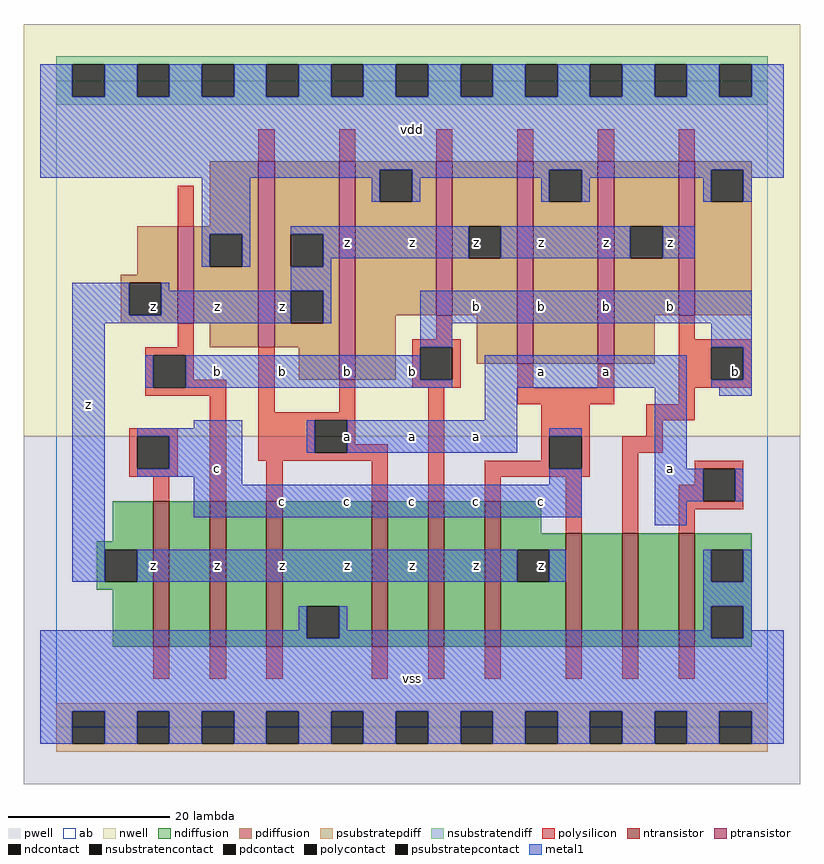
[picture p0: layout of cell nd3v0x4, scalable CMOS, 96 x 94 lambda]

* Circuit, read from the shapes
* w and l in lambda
.subckt nd3v0x4 a b c vdd vss z
M1 n1 c z vss nfet w=18 l=2
M2 n2 b n1 vss nfet w=18 l=2
M3 vss a n2 vss nfet w=18 l=2
M4 n3 a vss vss nfet w=18 l=2
M5 n4 b n3 vss nfet w=18 l=2
M6 z c n4 vss nfet w=18 l=2
M7 n5 c z vss nfet w=14 l=2
M8 n6 b n5 vss nfet w=14 l=2
M9 vss a n6 vss nfet w=14 l=2
M10 vdd b z vdd pfet w=12 l=2
M11 z a vdd vdd pfet w=23 l=2
M12 vdd a z vdd pfet w=27 l=2
M13 z b vdd vdd pfet w=19 l=2 m=2
M14 vdd c z vdd pfet w=25 l=2 m=2
.ends

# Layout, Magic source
magic
tech scmos
<< ab >>
rect 0 0 88 80
<< pwell >>
rect -4 -7 92 36
<< nwell >>
rect -4 36 92 87
<< polysilicon >>
rect 25 70 27 74
rect 35 70 37 74
rect 47 70 49 74
rect 57 70 59 74
rect 67 70 69 74
rect 77 70 79 74
rect 15 62 17 67
rect 15 47 17 50
rect 11 46 17 47
rect 11 42 12 46
rect 16 43 17 46
rect 16 42 21 43
rect 11 41 21 42
rect 9 36 15 37
rect 9 32 10 36
rect 14 32 15 36
rect 9 31 15 32
rect 12 28 14 31
rect 19 28 21 41
rect 25 39 27 47
rect 47 48 49 51
rect 44 47 50 48
rect 44 43 45 47
rect 49 43 50 47
rect 77 48 79 51
rect 77 47 86 48
rect 35 39 37 43
rect 44 42 50 43
rect 57 42 59 45
rect 67 42 69 45
rect 25 38 37 39
rect 25 34 32 38
rect 36 35 37 38
rect 36 34 41 35
rect 25 33 41 34
rect 26 28 28 33
rect 39 28 41 33
rect 46 28 48 42
rect 57 40 69 42
rect 77 43 81 47
rect 85 43 86 47
rect 77 42 86 43
rect 77 40 79 42
rect 60 36 66 40
rect 73 38 79 40
rect 73 36 75 38
rect 60 33 61 36
rect 53 32 61 33
rect 65 32 66 36
rect 53 31 66 32
rect 70 34 75 36
rect 53 28 55 31
rect 63 24 65 31
rect 70 24 72 34
rect 79 32 85 33
rect 79 30 80 32
rect 77 28 80 30
rect 84 28 85 32
rect 77 27 85 28
rect 77 24 79 27
rect 12 6 14 10
rect 19 6 21 10
rect 26 6 28 10
rect 39 6 41 10
rect 46 6 48 10
rect 53 6 55 10
rect 63 6 65 10
rect 70 6 72 10
rect 77 6 79 10
<< ndiffusion >>
rect 7 23 12 28
rect 5 22 12 23
rect 5 18 6 22
rect 10 18 12 22
rect 5 17 12 18
rect 7 10 12 17
rect 14 10 19 28
rect 21 10 26 28
rect 28 15 39 28
rect 28 11 31 15
rect 35 11 39 15
rect 28 10 39 11
rect 41 10 46 28
rect 48 10 53 28
rect 55 24 60 28
rect 55 22 63 24
rect 55 18 57 22
rect 61 18 63 22
rect 55 10 63 18
rect 65 10 70 24
rect 72 10 77 24
rect 79 22 86 24
rect 79 18 81 22
rect 85 18 86 22
rect 79 15 86 18
rect 79 11 81 15
rect 85 11 86 15
rect 79 10 86 11
<< pdiffusion >>
rect 19 62 25 70
rect 10 56 15 62
rect 8 55 15 56
rect 8 51 9 55
rect 13 51 15 55
rect 8 50 15 51
rect 17 61 25 62
rect 17 57 19 61
rect 23 57 25 61
rect 17 50 25 57
rect 19 47 25 50
rect 27 61 35 70
rect 27 57 29 61
rect 33 57 35 61
rect 27 54 35 57
rect 27 50 29 54
rect 33 50 35 54
rect 27 47 35 50
rect 30 43 35 47
rect 37 69 47 70
rect 37 65 40 69
rect 44 65 47 69
rect 37 51 47 65
rect 49 62 57 70
rect 49 58 51 62
rect 55 58 57 62
rect 49 51 57 58
rect 37 43 42 51
rect 52 45 57 51
rect 59 69 67 70
rect 59 65 61 69
rect 65 65 67 69
rect 59 45 67 65
rect 69 62 77 70
rect 69 58 71 62
rect 75 58 77 62
rect 69 51 77 58
rect 79 69 86 70
rect 79 65 81 69
rect 85 65 86 69
rect 79 51 86 65
rect 69 45 74 51
<< metal1 >>
rect -2 78 2 82
rect 6 78 10 82
rect 14 78 18 82
rect 22 78 26 82
rect 30 78 34 82
rect 38 78 42 82
rect 46 78 50 82
rect 54 78 58 82
rect 62 78 66 82
rect 70 78 74 82
rect 78 78 82 82
rect 86 78 90 82
rect -2 69 90 78
rect -2 68 40 69
rect 18 61 24 68
rect 39 65 40 68
rect 44 68 61 69
rect 44 65 45 68
rect 60 65 61 68
rect 65 68 81 69
rect 65 65 66 68
rect 80 65 81 68
rect 85 68 90 69
rect 85 65 86 68
rect 18 57 19 61
rect 23 57 24 61
rect 29 61 51 62
rect 33 58 51 61
rect 55 58 71 62
rect 75 58 79 62
rect 33 57 34 58
rect 2 51 9 55
rect 13 54 14 55
rect 29 54 34 57
rect 13 51 29 54
rect 2 50 29 51
rect 33 50 34 54
rect 45 50 86 54
rect 2 18 6 50
rect 45 47 49 50
rect 11 42 12 46
rect 16 43 45 46
rect 81 47 86 50
rect 16 42 49 43
rect 53 42 78 46
rect 85 43 86 47
rect 81 42 86 43
rect 53 38 57 42
rect 17 37 23 38
rect 10 36 23 37
rect 14 32 23 36
rect 31 34 32 38
rect 36 34 57 38
rect 61 36 65 37
rect 10 31 23 32
rect 17 30 23 31
rect 61 30 65 32
rect 17 26 65 30
rect 74 32 78 42
rect 82 41 86 42
rect 74 28 80 32
rect 84 28 85 32
rect 74 25 78 28
rect 10 18 57 22
rect 61 18 63 22
rect 80 18 81 22
rect 85 18 86 22
rect 80 15 86 18
rect 30 12 31 15
rect -2 11 31 12
rect 35 12 36 15
rect 80 12 81 15
rect 35 11 81 12
rect 85 12 86 15
rect 85 11 90 12
rect -2 2 90 11
rect -2 -2 2 2
rect 6 -2 10 2
rect 14 -2 18 2
rect 22 -2 26 2
rect 30 -2 34 2
rect 38 -2 42 2
rect 46 -2 50 2
rect 54 -2 58 2
rect 62 -2 66 2
rect 70 -2 74 2
rect 78 -2 82 2
rect 86 -2 90 2
<< ntransistor >>
rect 12 10 14 28
rect 19 10 21 28
rect 26 10 28 28
rect 39 10 41 28
rect 46 10 48 28
rect 53 10 55 28
rect 63 10 65 24
rect 70 10 72 24
rect 77 10 79 24
<< ptransistor >>
rect 15 50 17 62
rect 25 47 27 70
rect 35 43 37 70
rect 47 51 49 70
rect 57 45 59 70
rect 67 45 69 70
rect 77 51 79 70
<< polycontact >>
rect 12 42 16 46
rect 10 32 14 36
rect 45 43 49 47
rect 32 34 36 38
rect 81 43 85 47
rect 61 32 65 36
rect 80 28 84 32
<< ndcontact >>
rect 6 18 10 22
rect 31 11 35 15
rect 57 18 61 22
rect 81 18 85 22
rect 81 11 85 15
<< pdcontact >>
rect 9 51 13 55
rect 19 57 23 61
rect 29 57 33 61
rect 29 50 33 54
rect 40 65 44 69
rect 51 58 55 62
rect 61 65 65 69
rect 71 58 75 62
rect 81 65 85 69
<< psubstratepcontact >>
rect 2 -2 6 2
rect 10 -2 14 2
rect 18 -2 22 2
rect 26 -2 30 2
rect 34 -2 38 2
rect 42 -2 46 2
rect 50 -2 54 2
rect 58 -2 62 2
rect 66 -2 70 2
rect 74 -2 78 2
rect 82 -2 86 2
<< nsubstratencontact >>
rect 2 78 6 82
rect 10 78 14 82
rect 18 78 22 82
rect 26 78 30 82
rect 34 78 38 82
rect 42 78 46 82
rect 50 78 54 82
rect 58 78 62 82
rect 66 78 70 82
rect 74 78 78 82
rect 82 78 86 82
<< psubstratepdiff >>
rect 0 2 88 3
rect 0 -2 2 2
rect 6 -2 10 2
rect 14 -2 18 2
rect 22 -2 26 2
rect 30 -2 34 2
rect 38 -2 42 2
rect 46 -2 50 2
rect 54 -2 58 2
rect 62 -2 66 2
rect 70 -2 74 2
rect 78 -2 82 2
rect 86 -2 88 2
rect 0 -3 88 -2
<< nsubstratendiff >>
rect 0 82 88 83
rect 0 78 2 82
rect 6 78 10 82
rect 14 78 18 82
rect 22 78 26 82
rect 30 78 34 82
rect 38 78 42 82
rect 46 78 50 82
rect 54 78 58 82
rect 62 78 66 82
rect 70 78 74 82
rect 78 78 82 82
rect 86 78 88 82
rect 0 77 88 78
<< labels >>
rlabel metal1 12 20 12 20 6 z
rlabel metal1 4 40 4 40 6 z
rlabel pdcontact 12 52 12 52 6 z
rlabel metal1 20 20 20 20 6 z
rlabel metal1 28 20 28 20 6 z
rlabel metal1 28 28 28 28 6 c
rlabel metal1 20 32 20 32 6 c
rlabel metal1 20 44 20 44 6 b
rlabel metal1 28 44 28 44 6 b
rlabel metal1 20 52 20 52 6 z
rlabel metal1 28 52 28 52 6 z
rlabel metal1 44 6 44 6 6 vss
rlabel metal1 36 20 36 20 6 z
rlabel metal1 36 28 36 28 6 c
rlabel metal1 44 20 44 20 6 z
rlabel metal1 44 28 44 28 6 c
rlabel metal1 36 36 36 36 6 a
rlabel metal1 36 44 36 44 6 b
rlabel metal1 44 36 44 36 6 a
rlabel metal1 44 44 44 44 6 b
rlabel metal1 36 60 36 60 6 z
rlabel metal1 44 60 44 60 6 z
rlabel metal1 44 74 44 74 6 vdd
rlabel metal1 52 20 52 20 6 z
rlabel metal1 52 28 52 28 6 c
rlabel ndcontact 60 20 60 20 6 z
rlabel metal1 60 28 60 28 6 c
rlabel metal1 52 36 52 36 6 a
rlabel metal1 60 44 60 44 6 a
rlabel metal1 68 44 68 44 6 a
rlabel metal1 60 52 60 52 6 b
rlabel metal1 68 52 68 52 6 b
rlabel metal1 52 52 52 52 6 b
rlabel pdcontact 52 60 52 60 6 z
rlabel metal1 60 60 60 60 6 z
rlabel metal1 68 60 68 60 6 z
rlabel metal1 76 32 76 32 6 a
rlabel polycontact 84 44 84 44 6 b
rlabel metal1 76 52 76 52 6 b
rlabel metal1 76 60 76 60 6 z
<< end >>
